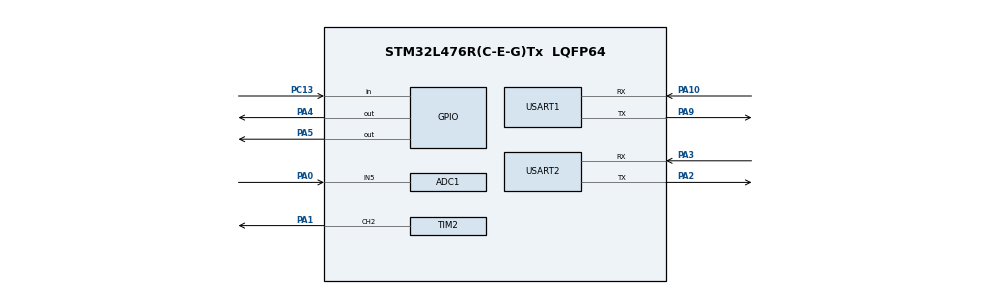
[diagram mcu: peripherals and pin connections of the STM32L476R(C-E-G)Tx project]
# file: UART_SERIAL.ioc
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ADC1.Channel-0\#ChannelRegularConversion=ADC_CHANNEL_5
ADC1.NbrOfConversionFlag=1
ADC1.OffsetNumber-0\#ChannelRegularConversion=ADC_OFFSET_NONE
ADC1.Rank-0\#ChannelRegularConversion=1
ADC1.SamplingTime-0\#ChannelRegularConversion=ADC_SAMPLETIME_2CYCLES_5
ADC1.master=1
Dma.Request0=USART2_RX
Dma.USART2_RX.0.Direction=DMA_PERIPH_TO_MEMORY
Dma.USART2_RX.0.Instance=DMA1_Channel6
Dma.USART2_RX.0.MemDataAlignment=DMA_MDATAALIGN_BYTE
Dma.USART2_RX.0.MemInc=DMA_MINC_ENABLE
Dma.USART2_RX.0.Mode=DMA_CIRCULAR
Dma.USART2_RX.0.PeriphDataAlignment=DMA_PDATAALIGN_BYTE
Dma.USART2_RX.0.PeriphInc=DMA_PINC_DISABLE
Dma.USART2_RX.0.Priority=DMA_PRIORITY_LOW
FREERTOS.Tasks01=defaultTask,0,128,StartDefaultTask,Default,NULL,Dynamic,NULL,NULL
Mcu.Family=STM32L4
Mcu.Name=STM32L476R(C-E-G)Tx
Mcu.Package=LQFP64
NVIC.DMA1_Channel6_IRQn=true\:5\:0\:false\:false\:true\:true\:false\:true
NVIC.PriorityGroup=NVIC_PRIORITYGROUP_4
NVIC.TIM1_UP_TIM16_IRQn=true\:15\:0\:false\:false\:true\:false\:false\:true
NVIC.TIM3_IRQn=true\:5\:0\:false\:false\:true\:true\:true\:true
NVIC.TimeBase=TIM1_UP_TIM16_IRQn
NVIC.TimeBaseIP=TIM1
NVIC.USART1_IRQn=true\:5\:0\:false\:false\:true\:true\:true\:true
NVIC.USART2_IRQn=true\:5\:0\:false\:false\:true\:true\:true\:true
PA0.Signal=ADCx_IN5
PA1.Signal=S_TIM2_CH2
PA10.Mode=Asynchronous
PA10.Signal=USART1_RX
PA13\ (JTMS-SWDIO).Mode=Serial_Wire
PA13\ (JTMS-SWDIO).Signal=SYS_JTMS-SWDIO
PA14\ (JTCK-SWCLK).Mode=Serial_Wire
PA14\ (JTCK-SWCLK).Signal=SYS_JTCK-SWCLK
PA2.Mode=Asynchronous
PA2.Signal=USART2_TX
PA3.Mode=Asynchronous
PA3.Signal=USART2_RX
PA4.Signal=GPIO_Output
PA5.Signal=GPIO_Output
PA9.Mode=Asynchronous
PA9.Signal=USART1_TX
PC13.Signal=GPIO_Input
PC14-OSC32_IN\ (PC14).Mode=LSE-External-Oscillator
PC14-OSC32_IN\ (PC14).Signal=RCC_OSC32_IN
PC15-OSC32_OUT\ (PC15).Mode=LSE-External-Oscillator
PC15-OSC32_OUT\ (PC15).Signal=RCC_OSC32_OUT
PH0-OSC_IN\ (PH0).Mode=HSE-External-Oscillator
PH0-OSC_IN\ (PH0).Signal=RCC_OSC_IN
PH1-OSC_OUT\ (PH1).Mode=HSE-External-Oscillator
PH1-OSC_OUT\ (PH1).Signal=RCC_OSC_OUT
ProjectManager.HeapSize=0x200
ProjectManager.StackSize=0x400
ProjectManager.TargetToolchain=STM32CubeIDE
RCC.ADCFreq_Value=32000000
RCC.HSE_VALUE=8000000
RCC.HSI_VALUE=16000000
RCC.MSI_VALUE=4000000
RCC.PLLSAI1N=16
RCC.USBFreq_Value=32000000
RCC.VCOOutputFreq_Value=32000000
SH.ADCx_IN5.0=ADC1_IN5,IN5-Single-Ended
SH.S_TIM2_CH2.0=TIM2_CH2,PWM Generation2 CH2
TIM2.Channel-PWM\ Generation2\ CH2=TIM_CHANNEL_2
TIM2.Period=2000
TIM2.Prescaler=127
TIM3.Period=10000-1
TIM3.Prescaler=8000-1
USART1.VirtualMode-Asynchronous=VM_ASYNC
USART2.VirtualMode-Asynchronous=VM_ASYNC
VP_FREERTOS_VS_CMSIS_V1.Mode=CMSIS_V1
VP_SYS_VS_tim1.Mode=TIM1
VP_TIM3_VS_ClockSourceINT.Mode=Internal
board=custom

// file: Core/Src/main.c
/* USER CODE BEGIN Header */
/**
  ******************************************************************************
  * @file           : main.c
  * @brief          : Main program body
  ******************************************************************************
  * @attention
  *
  * <h2><center>&copy; Copyright (c) 2021 STMicroelectronics.
  * All rights reserved.</center></h2>
  *
  * This software component is licensed by ST under BSD 3-Clause license,
  * the "License"; You may not use this file except in compliance with the
  * License. You may obtain a copy of the License at:
  *                        opensource.org/licenses/BSD-3-Clause
  *
  ******************************************************************************
  */
/* USER CODE END Header */
#include "main.h"
#include "cmsis_os.h"

/* USER CODE BEGIN Includes */
#include "string.h"
#include <stdio.h>
/* USER CODE END Includes */

ADC_HandleTypeDef hadc1;

TIM_HandleTypeDef htim2;
TIM_HandleTypeDef htim3;

UART_HandleTypeDef huart1;

osThreadId defaultTaskHandle;

void SystemClock_Config(void);
static void MX_GPIO_Init(void);
static void MX_USART2_UART_Init(void);
static void MX_DMA_Init(void);
static void MX_USART1_UART_Init(void);
static void MX_ADC1_Init(void);
static void MX_TIM2_Init(void);
static void MX_TIM3_Init(void);
void StartDefaultTask(void const * argument);

/* USER CODE BEGIN 0 */
uint8_t txData[13] = "Hello World\r\n";

#define TRUE  1
#define FALSE 0

#define TX_QUEUE_SIZE 128
#define RX_QUEUE_SIZE 5
#define USART_1 1
#define USART_2 2

QueueHandle_t tx_queue_1;
QueueHandle_t rx_queue_1;
QueueHandle_t tx_queue_2;
QueueHandle_t rx_queue_2;
SemaphoreHandle_t uart_1_mutex = NULL;
SemaphoreHandle_t uart_2_mutex = NULL;

// TIMER

int tempo;
int pwm_value = 0;
uint16_t temp;

int power = 0;
int generator = 0;

void sendchar(char c, char usart){
	if(usart == USART_1){
		xQueueSend(tx_queue_1, &c, HAL_MAX_DELAY);
		LL_USART_EnableIT_TXE(USART1);
	}
	else if( usart == USART_2){
		xQueueSend(tx_queue_2, &c, HAL_MAX_DELAY);
		LL_USART_EnableIT_TXE(USART2);
	}
}

void sendString(char * str, char usart){
	while(*str != 0){
		sendchar(*str, usart);
		str++;
	}
}

uint16_t read_voltage(void) {
	HAL_ADC_Start(&hadc1);

	HAL_ADC_PollForConversion(&hadc1, HAL_MAX_DELAY);

	uint16_t input = HAL_ADC_GetValue(&hadc1);

	return input;
}

void semEnergia(){
    HAL_TIM_Base_Stop_IT(&htim3);
    power = FALSE;
}

void comEnergia(){
    HAL_TIM_Base_Start_IT(&htim3);
    power = TRUE;
}

void ledOff(){
    HAL_GPIO_WritePin(GPIOA, GPIO_PIN_4, GPIO_PIN_RESET);
}

void ledOn(){
    HAL_GPIO_WritePin(GPIOA, GPIO_PIN_4, GPIO_PIN_SET);
}

void geradorOn(){
	generator = TRUE;
	HAL_TIM_PWM_Start(&htim2, TIM_CHANNEL_2);
	sendString("gerador ligado\r\n", USART_2);
	temp = read_voltage();
	pwm_value += temp;
	if(pwm_value < 65535){
		TIM2->CCR2 = pwm_value;
	}
	if(pwm_value > 65535 ){
		pwm_value = 0;
	}
}

void geradorOff(){
	generator = FALSE;
    sendString("gerador desligado\r\n", USART_2);
    HAL_TIM_PWM_Stop(&htim2, TIM_CHANNEL_2);
}

char readchar(char usart){
	uint8_t caracter=0;
	if(usart == USART_1)
		xQueueReceive(rx_queue_1, &caracter, HAL_MAX_DELAY);
	else if(usart == USART_2)
		xQueueReceive(rx_queue_2, &caracter, HAL_MAX_DELAY);
	return caracter;
}

void voltage_scanner(void * vParam) {
	uint16_t potentiometer_buff;
	char potentiometer_result_buff[13];

	int countdown = 1000;

	while(TRUE) {
		potentiometer_buff = read_voltage();
		uint16_t led = HAL_GPIO_ReadPin(GPIOA, GPIO_PIN_4);

		if(!countdown) {
			sprintf(potentiometer_result_buff, "%d,%d,%d,%d", potentiometer_buff, led, power, generator);
			sendString("[", USART_1);
			sendString(potentiometer_result_buff, USART_1);
			sendString("]\r", USART_1);
			countdown = 1000;
		} else {
			countdown--;
		}
	}
}

void cli(void * vParam)
{
    uint8_t caracter;
        while(1)
        {
            caracter = readchar(USART_1);
            switch(caracter){
            case 's':
                semEnergia();
                break;
            case 'c':
                comEnergia();
                break;
            case 'l':
                ledOff();
                break;
            case 'f':
                ledOn();
                break;
            case 'a' :
                geradorOn();
                break;
            case 'b':
                geradorOff();
                break;
		}
    }
	caracter = '\0';
}

void USART_2_IRQHandler(void)
{
	//Se for interrupcao de transmissao
    if (LL_USART_IsActiveFlag_TXE(USART2)) {
        BaseType_t contextSwitch;

        while (LL_USART_IsActiveFlag_TXE(USART2)) {
            uint8_t byte;
            //Desinfileira um byte para tranmistir
            if (xQueueReceiveFromISR(tx_queue_2, &byte, &contextSwitch) == pdFAIL) {
            	//Se a fila de transmissao esta vazia, encerra a transmissao
                LL_USART_DisableIT_TXE(USART2);
                break;
            }
            //Envia o byte retirado da fila de transmisao
            LL_USART_TransmitData8(USART2, byte);
        }
        portYIELD_FROM_ISR(contextSwitch);
    }

    //Se for interrupcao de recepcao
    if (LL_USART_IsActiveFlag_RXNE(USART2)) {
        BaseType_t contextSwitch;

        while (LL_USART_IsActiveFlag_RXNE(USART2)) {
        	//Copia o byte do regstrador de recepcao
        	uint8_t byte =
                LL_USART_ReceiveData8(USART2);
        	//Enfileira o byte recebido na fila de recepcao
            xQueueSendFromISR(rx_queue_2, &byte, &contextSwitch);
            // xQueueSendFromISR can return errQUEUE_FULL
        }
        portYIELD_FROM_ISR(contextSwitch);
    }
}

void USART_1_IRQHandler(void)
{
	//Se for interrupcao de transmissao
    if (LL_USART_IsActiveFlag_TXE(USART1)) {
        BaseType_t contextSwitch;

        while (LL_USART_IsActiveFlag_TXE(USART1)) {
            uint8_t byte;
            //Desinfileira um byte para tranmistir
            if (xQueueReceiveFromISR(tx_queue_1, &byte, &contextSwitch) == pdFAIL) {
            	//Se a fila de transmissao esta vazia, encerra a transmissao
                LL_USART_DisableIT_TXE(USART1);
                break;
            }
            //Envia o byte retirado da fila de transmisao
            LL_USART_TransmitData8(USART1, byte);
        }
        portYIELD_FROM_ISR(contextSwitch);
    }

    //Se for interrupcao de recepcao
    if (LL_USART_IsActiveFlag_RXNE(USART1)) {
        BaseType_t contextSwitch;

        while (LL_USART_IsActiveFlag_RXNE(USART1)) {
        	//Copia o byte do regstrador de recepcao
        	uint8_t byte =
                LL_USART_ReceiveData8(USART1);
        	//Enfileira o byte recebido na fila de recepcao
            xQueueSendFromISR(rx_queue_1, &byte, &contextSwitch);
            // xQueueSendFromISR can return errQUEUE_FULL
        }
        portYIELD_FROM_ISR(contextSwitch);
    }
}

/* USER CODE END 0 */

int main(void)
{

  /* MCU Configuration--------------------------------------------------------*/

  /* Reset of all peripherals, Initializes the Flash interface and the Systick. */
  HAL_Init();

  /* Configure the system clock */
  SystemClock_Config();

  /* Initialize all configured peripherals */
  MX_GPIO_Init();
  MX_USART2_UART_Init();
  MX_DMA_Init();
  MX_USART1_UART_Init();
  MX_ADC1_Init();
  MX_TIM2_Init();
  MX_TIM3_Init();
  /* USER CODE BEGIN 2 */
  uart_1_mutex = xSemaphoreCreateMutex();
  uart_2_mutex = xSemaphoreCreateMutex();
  /* USER CODE END 2 */

  /* Create the thread(s) */
  /* definition and creation of defaultTask */
  osThreadDef(defaultTask, StartDefaultTask, osPriorityNormal, 0, 128);
  defaultTaskHandle = osThreadCreate(osThread(defaultTask), NULL);

  /* USER CODE BEGIN RTOS_THREADS */
  /* add threads, ... */

  xTaskCreate(cli,    /* Nome da funcao que contem a task */
   		  	  "cli",     /* Nome descritivo */
 			  configMINIMAL_STACK_SIZE,   /* tamanho da pilha da task */
 			  NULL,       /* parametro para a task */
 			  2,          /* nivel de prioridade */
 			  NULL);      /* ponteiro para o handle da task */

  xTaskCreate(voltage_scanner,    /* Nome da funcao que contem a task */
   		  	  "voltage_scanner",     /* Nome descritivo */
 			  configMINIMAL_STACK_SIZE,   /* tamanho da pilha da task */
 			  NULL,       /* parametro para a task */
 			  1,          /* nivel de prioridade */
 			  NULL);      /* ponteiro para o handle da task */

  /* USER CODE END RTOS_THREADS */

  /* Start scheduler */
  osKernelStart();

  /* We should never get here as control is now taken by the scheduler */
  /* Infinite loop */
  while (1)
  {

  }
}

void SystemClock_Config(void)
{
  RCC_OscInitTypeDef RCC_OscInitStruct = {0};
  RCC_ClkInitTypeDef RCC_ClkInitStruct = {0};

  /** Configure the main internal regulator output voltage
  */
  if (HAL_PWREx_ControlVoltageScaling(PWR_REGULATOR_VOLTAGE_SCALE1) != HAL_OK)
  {
    Error_Handler();
  }
  /** Configure LSE Drive Capability
  */
  HAL_PWR_EnableBkUpAccess();
  __HAL_RCC_LSEDRIVE_CONFIG(RCC_LSEDRIVE_LOW);
  /** Initializes the RCC Oscillators according to the specified parameters
  * in the RCC_OscInitTypeDef structure.
  */
  RCC_OscInitStruct.OscillatorType = RCC_OSCILLATORTYPE_LSE|RCC_OSCILLATORTYPE_MSI;
  RCC_OscInitStruct.LSEState = RCC_LSE_ON;
  RCC_OscInitStruct.MSIState = RCC_MSI_ON;
  RCC_OscInitStruct.MSICalibrationValue = 0;
  RCC_OscInitStruct.MSIClockRange = RCC_MSIRANGE_6;
  RCC_OscInitStruct.PLL.PLLState = RCC_PLL_NONE;
  if (HAL_RCC_OscConfig(&RCC_OscInitStruct) != HAL_OK)
  {
    Error_Handler();
  }
  /** Initializes the CPU, AHB and APB buses clocks
  */
  RCC_ClkInitStruct.ClockType = RCC_CLOCKTYPE_HCLK|RCC_CLOCKTYPE_SYSCLK
                              |RCC_CLOCKTYPE_PCLK1|RCC_CLOCKTYPE_PCLK2;
  RCC_ClkInitStruct.SYSCLKSource = RCC_SYSCLKSOURCE_MSI;
  RCC_ClkInitStruct.AHBCLKDivider = RCC_SYSCLK_DIV1;
  RCC_ClkInitStruct.APB1CLKDivider = RCC_HCLK_DIV1;
  RCC_ClkInitStruct.APB2CLKDivider = RCC_HCLK_DIV1;

  if (HAL_RCC_ClockConfig(&RCC_ClkInitStruct, FLASH_LATENCY_0) != HAL_OK)
  {
    Error_Handler();
  }
  /** Enable MSI Auto calibration
  */
  HAL_RCCEx_EnableMSIPLLMode();
}

static void MX_ADC1_Init(void)
{

  ADC_MultiModeTypeDef multimode = {0};
  ADC_ChannelConfTypeDef sConfig = {0};

  /** Common config
  */
  hadc1.Instance = ADC1;
  hadc1.Init.ClockPrescaler = ADC_CLOCK_ASYNC_DIV1;
  hadc1.Init.Resolution = ADC_RESOLUTION_12B;
  hadc1.Init.DataAlign = ADC_DATAALIGN_RIGHT;
  hadc1.Init.ScanConvMode = ADC_SCAN_DISABLE;
  hadc1.Init.EOCSelection = ADC_EOC_SINGLE_CONV;
  hadc1.Init.LowPowerAutoWait = DISABLE;
  hadc1.Init.ContinuousConvMode = DISABLE;
  hadc1.Init.NbrOfConversion = 1;
  hadc1.Init.DiscontinuousConvMode = DISABLE;
  hadc1.Init.ExternalTrigConv = ADC_SOFTWARE_START;
  hadc1.Init.ExternalTrigConvEdge = ADC_EXTERNALTRIGCONVEDGE_NONE;
  hadc1.Init.DMAContinuousRequests = DISABLE;
  hadc1.Init.Overrun = ADC_OVR_DATA_PRESERVED;
  hadc1.Init.OversamplingMode = DISABLE;
  if (HAL_ADC_Init(&hadc1) != HAL_OK)
  {
    Error_Handler();
  }
  /** Configure the ADC multi-mode
  */
  multimode.Mode = ADC_MODE_INDEPENDENT;
  if (HAL_ADCEx_MultiModeConfigChannel(&hadc1, &multimode) != HAL_OK)
  {
    Error_Handler();
  }
  /** Configure Regular Channel
  */
  sConfig.Channel = ADC_CHANNEL_5;
  sConfig.Rank = ADC_REGULAR_RANK_1;
  sConfig.SamplingTime = ADC_SAMPLETIME_2CYCLES_5;
  sConfig.SingleDiff = ADC_SINGLE_ENDED;
  sConfig.OffsetNumber = ADC_OFFSET_NONE;
  sConfig.Offset = 0;
  if (HAL_ADC_ConfigChannel(&hadc1, &sConfig) != HAL_OK)
  {
    Error_Handler();
  }

}

static void MX_TIM2_Init(void)
{

  TIM_MasterConfigTypeDef sMasterConfig = {0};
  TIM_OC_InitTypeDef sConfigOC = {0};

  htim2.Instance = TIM2;
  htim2.Init.Prescaler = 127;
  htim2.Init.CounterMode = TIM_COUNTERMODE_UP;
  htim2.Init.Period = 2000;
  htim2.Init.ClockDivision = TIM_CLOCKDIVISION_DIV1;
  htim2.Init.AutoReloadPreload = TIM_AUTORELOAD_PRELOAD_DISABLE;
  if (HAL_TIM_PWM_Init(&htim2) != HAL_OK)
  {
    Error_Handler();
  }
  sMasterConfig.MasterOutputTrigger = TIM_TRGO_RESET;
  sMasterConfig.MasterSlaveMode = TIM_MASTERSLAVEMODE_DISABLE;
  if (HAL_TIMEx_MasterConfigSynchronization(&htim2, &sMasterConfig) != HAL_OK)
  {
    Error_Handler();
  }
  sConfigOC.OCMode = TIM_OCMODE_PWM1;
  sConfigOC.Pulse = 0;
  sConfigOC.OCPolarity = TIM_OCPOLARITY_HIGH;
  sConfigOC.OCFastMode = TIM_OCFAST_DISABLE;
  if (HAL_TIM_PWM_ConfigChannel(&htim2, &sConfigOC, TIM_CHANNEL_2) != HAL_OK)
  {
    Error_Handler();
  }
  HAL_TIM_MspPostInit(&htim2);

}

static void MX_TIM3_Init(void)
{

  TIM_ClockConfigTypeDef sClockSourceConfig = {0};
  TIM_MasterConfigTypeDef sMasterConfig = {0};

  htim3.Instance = TIM3;
  htim3.Init.Prescaler = 8000-1;
  htim3.Init.CounterMode = TIM_COUNTERMODE_UP;
  htim3.Init.Period = 10000-1;
  htim3.Init.ClockDivision = TIM_CLOCKDIVISION_DIV1;
  htim3.Init.AutoReloadPreload = TIM_AUTORELOAD_PRELOAD_DISABLE;
  if (HAL_TIM_Base_Init(&htim3) != HAL_OK)
  {
    Error_Handler();
  }
  sClockSourceConfig.ClockSource = TIM_CLOCKSOURCE_INTERNAL;
  if (HAL_TIM_ConfigClockSource(&htim3, &sClockSourceConfig) != HAL_OK)
  {
    Error_Handler();
  }
  sMasterConfig.MasterOutputTrigger = TIM_TRGO_RESET;
  sMasterConfig.MasterSlaveMode = TIM_MASTERSLAVEMODE_DISABLE;
  if (HAL_TIMEx_MasterConfigSynchronization(&htim3, &sMasterConfig) != HAL_OK)
  {
    Error_Handler();
  }

}

static void MX_USART1_UART_Init(void)
{

  huart1.Instance = USART1;
  huart1.Init.BaudRate = 115200;
  huart1.Init.WordLength = UART_WORDLENGTH_8B;
  huart1.Init.StopBits = UART_STOPBITS_1;
  huart1.Init.Parity = UART_PARITY_NONE;
  huart1.Init.Mode = UART_MODE_TX_RX;
  huart1.Init.HwFlowCtl = UART_HWCONTROL_NONE;
  huart1.Init.OverSampling = UART_OVERSAMPLING_16;
  huart1.Init.OneBitSampling = UART_ONE_BIT_SAMPLE_DISABLE;
  huart1.AdvancedInit.AdvFeatureInit = UART_ADVFEATURE_NO_INIT;
  if (HAL_UART_Init(&huart1) != HAL_OK)
  {
    Error_Handler();
  }

}

static void MX_USART2_UART_Init(void)
{

  /* USER CODE BEGIN USART2_Init 0 */

	tx_queue_1 = xQueueCreate(10, sizeof(uint8_t));
	rx_queue_1 = xQueueCreate(10, sizeof(uint8_t));
	LL_USART_EnableIT_RXNE(USART2);

  /* USER CODE END USART2_Init 0 */

  LL_USART_InitTypeDef USART_InitStruct = {0};

  LL_GPIO_InitTypeDef GPIO_InitStruct = {0};
  RCC_PeriphCLKInitTypeDef PeriphClkInit = {0};

  /** Initializes the peripherals clock
  */
  PeriphClkInit.PeriphClockSelection = RCC_PERIPHCLK_USART2;
  PeriphClkInit.Usart2ClockSelection = RCC_USART2CLKSOURCE_PCLK1;
  if (HAL_RCCEx_PeriphCLKConfig(&PeriphClkInit) != HAL_OK)
  {
    Error_Handler();
  }

  /* Peripheral clock enable */
  LL_APB1_GRP1_EnableClock(LL_APB1_GRP1_PERIPH_USART2);

  LL_AHB2_GRP1_EnableClock(LL_AHB2_GRP1_PERIPH_GPIOA);
  /**USART2 GPIO Configuration
  PA2   ------> USART2_TX
  PA3   ------> USART2_RX
  */
  GPIO_InitStruct.Pin = LL_GPIO_PIN_2|LL_GPIO_PIN_3;
  GPIO_InitStruct.Mode = LL_GPIO_MODE_ALTERNATE;
  GPIO_InitStruct.Speed = LL_GPIO_SPEED_FREQ_VERY_HIGH;
  GPIO_InitStruct.OutputType = LL_GPIO_OUTPUT_PUSHPULL;
  GPIO_InitStruct.Pull = LL_GPIO_PULL_NO;
  GPIO_InitStruct.Alternate = LL_GPIO_AF_7;
  LL_GPIO_Init(GPIOA, &GPIO_InitStruct);

  /* USART2 DMA Init */

  /* USART2_RX Init */
  LL_DMA_SetPeriphRequest(DMA1, LL_DMA_CHANNEL_6, LL_DMA_REQUEST_2);

  LL_DMA_SetDataTransferDirection(DMA1, LL_DMA_CHANNEL_6, LL_DMA_DIRECTION_PERIPH_TO_MEMORY);

  LL_DMA_SetChannelPriorityLevel(DMA1, LL_DMA_CHANNEL_6, LL_DMA_PRIORITY_LOW);

  LL_DMA_SetMode(DMA1, LL_DMA_CHANNEL_6, LL_DMA_MODE_CIRCULAR);

  LL_DMA_SetPeriphIncMode(DMA1, LL_DMA_CHANNEL_6, LL_DMA_PERIPH_NOINCREMENT);

  LL_DMA_SetMemoryIncMode(DMA1, LL_DMA_CHANNEL_6, LL_DMA_MEMORY_INCREMENT);

  LL_DMA_SetPeriphSize(DMA1, LL_DMA_CHANNEL_6, LL_DMA_PDATAALIGN_BYTE);

  LL_DMA_SetMemorySize(DMA1, LL_DMA_CHANNEL_6, LL_DMA_MDATAALIGN_BYTE);

  /* USART2 interrupt Init */
  NVIC_SetPriority(USART2_IRQn, NVIC_EncodePriority(NVIC_GetPriorityGrouping(),5, 0));
  NVIC_EnableIRQ(USART2_IRQn);

  USART_InitStruct.BaudRate = 115200;
  USART_InitStruct.DataWidth = LL_USART_DATAWIDTH_8B;
  USART_InitStruct.StopBits = LL_USART_STOPBITS_1;
  USART_InitStruct.Parity = LL_USART_PARITY_NONE;
  USART_InitStruct.TransferDirection = LL_USART_DIRECTION_TX_RX;
  USART_InitStruct.HardwareFlowControl = LL_USART_HWCONTROL_NONE;
  USART_InitStruct.OverSampling = LL_USART_OVERSAMPLING_16;
  LL_USART_Init(USART2, &USART_InitStruct);
  LL_USART_ConfigAsyncMode(USART2);
  LL_USART_Enable(USART2);
  /* USER CODE BEGIN USART2_Init 2 */
  tx_queue_2 = xQueueCreate(TX_QUEUE_SIZE, sizeof(uint8_t));
  rx_queue_2 = xQueueCreate(RX_QUEUE_SIZE, sizeof(uint8_t));

  LL_USART_EnableIT_RXNE(USART2);
  /* USER CODE END USART2_Init 2 */

}

static void MX_DMA_Init(void)
{

  /* DMA controller clock enable */
  __HAL_RCC_DMA1_CLK_ENABLE();

  /* DMA interrupt init */
  /* DMA1_Channel6_IRQn interrupt configuration */
  NVIC_SetPriority(DMA1_Channel6_IRQn, NVIC_EncodePriority(NVIC_GetPriorityGrouping(),5, 0));
  NVIC_EnableIRQ(DMA1_Channel6_IRQn);

}

static void MX_GPIO_Init(void)
{
  GPIO_InitTypeDef GPIO_InitStruct = {0};

  /* GPIO Ports Clock Enable */
  __HAL_RCC_GPIOC_CLK_ENABLE();
  __HAL_RCC_GPIOH_CLK_ENABLE();
  __HAL_RCC_GPIOA_CLK_ENABLE();

  /*Configure GPIO pin Output Level */
  HAL_GPIO_WritePin(GPIOA, GPIO_PIN_4|GPIO_PIN_5, GPIO_PIN_RESET);

  /*Configure GPIO pin : PC13 */
  GPIO_InitStruct.Pin = GPIO_PIN_13;
  GPIO_InitStruct.Mode = GPIO_MODE_INPUT;
  GPIO_InitStruct.Pull = GPIO_NOPULL;
  HAL_GPIO_Init(GPIOC, &GPIO_InitStruct);

  /*Configure GPIO pins : PA4 PA5 */
  GPIO_InitStruct.Pin = GPIO_PIN_4|GPIO_PIN_5;
  GPIO_InitStruct.Mode = GPIO_MODE_OUTPUT_PP;
  GPIO_InitStruct.Pull = GPIO_NOPULL;
  GPIO_InitStruct.Speed = GPIO_SPEED_FREQ_LOW;
  HAL_GPIO_Init(GPIOA, &GPIO_InitStruct);

}

void StartDefaultTask(void const * argument)
{
  for(;;)
  {
    osDelay(1);
  }
}

int count = 0;
int tempo;

void HAL_TIM_PeriodElapsedCallback(TIM_HandleTypeDef *htim)
{
    tempo = 2;
    if (htim->Instance == htim3.Instance){
        //HAL_GPIO_TogglePin(GPIOA, GPIO_PIN_1);
        count++;
        if(count == tempo){
            HAL_GPIO_WritePin(GPIOA, GPIO_PIN_4, GPIO_PIN_SET);
        }
        if(count == tempo*2){
            HAL_GPIO_WritePin(GPIOA, GPIO_PIN_4, GPIO_PIN_RESET);
      count = 0;
        }
    }
}
void Error_Handler(void)
{
  __disable_irq();
  while (1)
  {
  }
}

/************************ (C) COPYRIGHT STMicroelectronics *****END OF FILE****/
